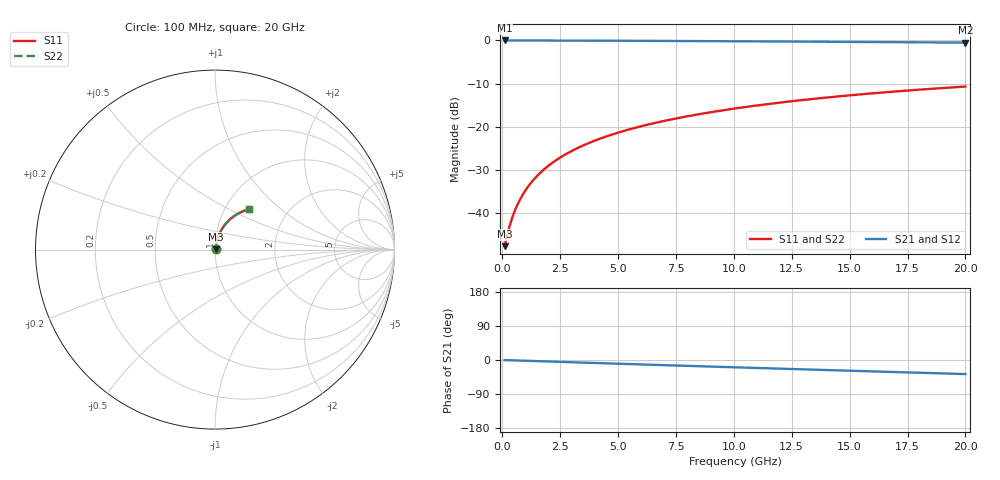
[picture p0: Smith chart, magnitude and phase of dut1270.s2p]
! Touchstone file exported from HFSS 2026.1.0
!  File:  C:/ffzhzh/LocalFiles/Ansys_Project_Files/temp_train_BSMRDL_1270_1783177655_51560.aedt
!  Generated:  11:08:54 PM Jul  4, 2026
!  Design:  BSMRDL
!  Project:  temp_train_BSMRDL_1270_1783177655_51560
! Variables:
!  h_bsmrdl = 5.27um
!  h_ox = 20um
!  h_rdl = 5um
!  h_sub = 80um
!  h_tmrdl = 5um
!  h_tsv = 80um
!  h_via = 3um
!  l_bsmrdl = 599.76um
!  l_sub = 999.76um
!  l_tmrdl = 200um
!  m_sub = 200um
!  pitch = 25.06um
!  r_tsv = 6um
!  s_tmrdl = 10um
!  w_bsmrdl = 11.03um
!  w_sub = 500um
!  w_tmrdl = 12um
!  x_tsv_center1 = 206um
!  x_tsv_center2 = 816.79um
!  x_tsv_center3 = 1028.79um
!  x_tsv_center4 = 1639.58um
!  x_tsv_center5 = 1851.58um
!  x_tsv_center6 = 2462.37um
# GHz S MA R 50.000000
! Terminal data exported
! Port[1] = BSM_RDL1_1_T1
! Port[2] = BSM_RDL1_1_T2
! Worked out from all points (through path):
!   200 points, 100 MHz to 20 GHz, reference 50 ohm
!   highest |S21| = -0.03 dB at 100 MHz (marker M1); lowest = -0.5 dB at 20 GHz (marker M2)
!   group delay of S21, straight-line fit = 5.14 ps
!   lowest |S11| = -47.6 dB at 100 MHz (marker M3), VSWR 1.01, Z = 50.4 + j0.194 ohm
!   |S11| at or under -10 dB: start of sweep to end of sweep
!   |S22| runs from -47.6 to -10.7 dB; largest |S21 - S12| = 3.4e-15
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0.1  0.00418 27.4  0.9963 -0.2  0.9963 -0.2  0.00418 27.4
! Gamma 0 0 0 0
! Port Impedance 50 0 50 0
0.3  0.006871 54.4  0.996 -0.6  0.996 -0.6  0.006871 54.4
0.4  0.008437 60.6  0.9959 -0.8  0.9959 -0.8  0.008437 60.6
0.5  0.01005 64.7  0.9958 -1.0  0.9958 -1.0  0.01005 64.7
0.6  0.01169 67.7  0.9957 -1.2  0.9957 -1.2  0.01169 67.7
0.7  0.01335 70.0  0.9957 -1.4  0.9957 -1.4  0.01335 70.0
0.9  0.01673 73.0  0.9955 -1.8  0.9955 -1.8  0.01673 73.0
1.2  0.02186 75.6  0.9952 -2.4  0.9952 -2.4  0.02186 75.6
1.4  0.0253 76.6  0.995 -2.8  0.995 -2.8  0.0253 76.6
1.7  0.03047 77.5  0.9947 -3.4  0.9947 -3.4  0.03047 77.5
2.2  0.03907 78.0  0.994 -4.4  0.994 -4.4  0.03907 78.0
2.8  0.0493 77.8  0.9931 -5.6  0.9931 -5.6  0.0493 77.8
3.5  0.06107 77.1  0.9918 -6.9  0.9918 -6.9  0.06107 77.1
4.2  0.07267 76.2  0.9904 -8.3  0.9904 -8.3  0.07267 76.2
5  0.08569 75.0  0.9886 -9.8  0.9886 -9.8  0.08569 75.0
5.9  0.1001 73.5  0.9864 -11.6  0.9864 -11.6  0.1001 73.5
6.8  0.1142 72.0  0.9841 -13.3  0.9841 -13.3  0.1142 72.0
8.3  0.1371 69.5  0.9801 -16.1  0.9801 -16.1  0.1371 69.5
10.1  0.1637 66.5  0.9749 -19.4  0.9749 -19.4  0.1637 66.5
13.4  0.2101 60.9  0.9644 -25.4  0.9644 -25.4  0.2101 60.9
16.7  0.253 55.4  0.953 -31.3  0.953 -31.3  0.253 55.4
20  0.2923 49.9  0.9409 -37.1  0.9409 -37.1  0.2923 49.9
